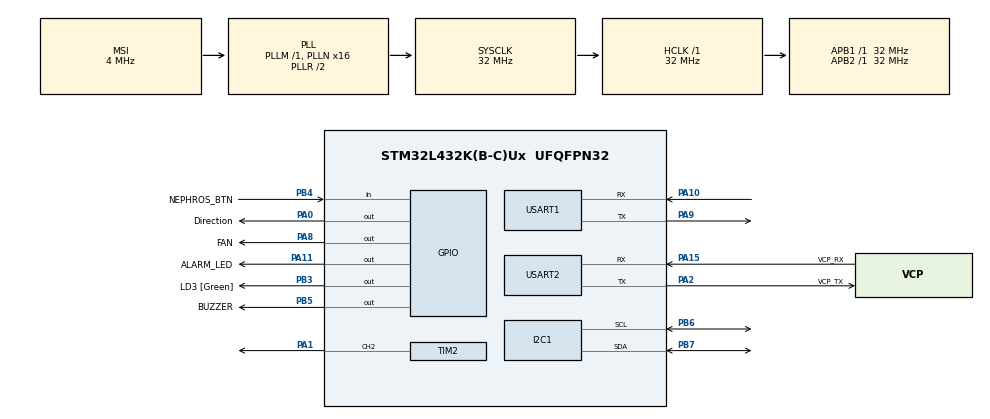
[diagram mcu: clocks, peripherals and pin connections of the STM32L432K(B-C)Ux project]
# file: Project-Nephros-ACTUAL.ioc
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Dma.Request0=USART1_RX
Dma.USART1_RX.0.Direction=DMA_PERIPH_TO_MEMORY
Dma.USART1_RX.0.Instance=DMA1_Channel5
Dma.USART1_RX.0.MemDataAlignment=DMA_MDATAALIGN_BYTE
Dma.USART1_RX.0.MemInc=DMA_MINC_ENABLE
Dma.USART1_RX.0.Mode=DMA_NORMAL
Dma.USART1_RX.0.PeriphDataAlignment=DMA_PDATAALIGN_BYTE
Dma.USART1_RX.0.PeriphInc=DMA_PINC_DISABLE
Dma.USART1_RX.0.Priority=DMA_PRIORITY_LOW
Mcu.Family=STM32L4
Mcu.Name=STM32L432K(B-C)Ux
Mcu.Package=UFQFPN32
NVIC.DMA1_Channel5_IRQn=true\:0\:0\:false\:false\:true\:false\:true\:true
NVIC.PriorityGroup=NVIC_PRIORITYGROUP_4
NVIC.USART1_IRQn=true\:0\:0\:false\:false\:true\:true\:true\:true
PA0.GPIO_Label=Direction
PA0.Signal=GPIO_Output
PA1.Signal=S_TIM2_CH2
PA10.Mode=Asynchronous
PA10.Signal=USART1_RX
PA11.GPIO_Label=ALARM_LED
PA11.Signal=GPIO_Output
PA13\ (JTMS-SWDIO).GPIO_Label=SWDIO
PA13\ (JTMS-SWDIO).Mode=Serial_Wire
PA13\ (JTMS-SWDIO).Signal=SYS_JTMS-SWDIO
PA14\ (JTCK-SWCLK).GPIO_Label=SWCLK
PA14\ (JTCK-SWCLK).Mode=Serial_Wire
PA14\ (JTCK-SWCLK).Signal=SYS_JTCK-SWCLK
PA15\ (JTDI).GPIO_Label=VCP_RX
PA15\ (JTDI).Mode=Asynchronous
PA15\ (JTDI).Signal=USART2_RX
PA2.GPIO_Label=VCP_TX
PA2.Mode=Asynchronous
PA2.Signal=USART2_TX
PA8.GPIO_Label=FAN
PA8.Signal=GPIO_Output
PA9.Mode=Asynchronous
PA9.Signal=USART1_TX
PB3\ (JTDO-TRACESWO).GPIO_Label=LD3 [Green]
PB3\ (JTDO-TRACESWO).Signal=GPIO_Output
PB4\ (NJTRST).GPIO_Label=NEPHROS_BTN
PB4\ (NJTRST).GPIO_PuPd=GPIO_PULLUP
PB4\ (NJTRST).Signal=GPIO_Input
PB5.GPIO_Label=BUZZER
PB5.Signal=GPIO_Output
PB6.Mode=I2C
PB6.Signal=I2C1_SCL
PB7.Mode=I2C
PB7.Signal=I2C1_SDA
PC14-OSC32_IN\ (PC14).Mode=LSE-External-Oscillator
PC14-OSC32_IN\ (PC14).Signal=RCC_OSC32_IN
PC15-OSC32_OUT\ (PC15).Mode=LSE-External-Oscillator
PC15-OSC32_OUT\ (PC15).Signal=RCC_OSC32_OUT
ProjectManager.HeapSize=0x200
ProjectManager.StackSize=0x400
ProjectManager.TargetToolchain=STM32CubeIDE
RCC.ADCFreq_Value=32000000
RCC.AHBFreq_Value=32000000
RCC.APB1Freq_Value=32000000
RCC.APB1TimFreq_Value=32000000
RCC.APB2Freq_Value=32000000
RCC.APB2TimFreq_Value=32000000
RCC.CortexFreq_Value=32000000
RCC.HCLKFreq_Value=32000000
RCC.HSE_VALUE=8000000
RCC.HSI16_VALUE=16000000
RCC.HSI48_VALUE=48000000
RCC.HSI_VALUE=16000000
RCC.MSI_VALUE=4000000
RCC.PLLMUL=RCC_PLLMUL_4
RCC.PLLN=16
RCC.PLLSAI1N=16
RCC.SYSCLKFreq_VALUE=32000000
RCC.SYSCLKSource=RCC_SYSCLKSOURCE_PLLCLK
RCC.USBFreq_Value=32000000
RCC.VCOOutputFreq_Value=64000000
SH.S_TIM2_CH2.0=TIM2_CH2,PWM Generation2 CH2
TIM1.Prescaler=72-1
TIM2.Channel-PWM\ Generation2\ CH2=TIM_CHANNEL_2
TIM2.Period=1000000-1
TIM2.Prescaler=80-1
USART1.VirtualMode-Asynchronous=VM_ASYNC
USART2.VirtualMode-Asynchronous=VM_ASYNC
VP_TIM1_VS_ClockSourceINT.Mode=Internal
board=NUCLEO-L432KC

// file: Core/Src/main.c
/* USER CODE BEGIN Header */
/**
  ******************************************************************************
  * @file           : main.c
  * @brief          : Main program body
  ******************************************************************************
  * @attention
  *
  * Copyright (c) 2026 STMicroelectronics.
  * All rights reserved.
  *
  * This software is licensed under terms that can be found in the LICENSE file
  * in the root directory of this software component.
  * If no LICENSE file comes with this software, it is provided AS-IS.
  *
  ******************************************************************************
  */
/* USER CODE END Header */
#include "main.h"
#include "dma.h"
#include "i2c.h"
#include "tim.h"
#include "usart.h"
#include "gpio.h"

/* USER CODE BEGIN Includes */
#include "PumpMotor.h"
#include "StateMachine.h"
#include "nephros_ui.h"
#include "nephros_safety.h"
#include "liquidcrystal_i2c.h"

#include <string.h>
#include <stdio.h>
#include <math.h>
#include <stdbool.h>
#include <stdlib.h>
#include <ctype.h>
#include <stdint.h>
#include <errno.h>
/* USER CODE END Includes */

/* USER CODE BEGIN PV */

static NephrosSensorData sensor_data =
{
    .temperature_c = 36.5f,
    .pressure = 150U,
    .air_detected = false,
    .flow_rate = 0.0f
};

static NephrosSetup setup_data;

//TIMER VARIABLES
uint32_t lastAlarmLCDCheck = 0;
static uint32_t end_message_hold_ms = 0U;
static bool lcd_message_active = false;

//RECIEVE UART VARIABLES
#define RX_BUFFER_SIZE 256
uint8_t rx_Buffer[RX_BUFFER_SIZE];
uint8_t main_Buffer[RX_BUFFER_SIZE + 1];
volatile uint8_t data_ready_flag = 0;

float r_temp2, r_psi1, r_psi2, r_flow1, r_flow2;
int r_bubble = 0;
char r_status[20];

static bool pending_button_press = false;
/* USER CODE END PV */

void SystemClock_Config(void);
/* USER CODE BEGIN PFP */
static void read_sensors(NephrosSensorData *sensor);
/* USER CODE END PFP */

int main(void)
{

  /* USER CODE BEGIN 1 */

  /*THIS NEEDS TO BE FIXED
   * MODIFIED:
   * Original manual ARR test variables were removed from main.c.
   * Motor speed settings are now handled inside PumpMotor.c.
   *
   * ADDED:
   * main.c now focuses on state-machine control:
   * start ramp -> PID test -> end ramp -> stopped.
   */

  char startMessage[] =
      "Pump motor PID test started. Using placeholder flow values.\r\n";

  /* USER CODE END 1 */

  /* MCU Configuration--------------------------------------------------------*/

  /* Reset of all peripherals, Initializes the Flash interface and the Systick. */
  HAL_Init();

  /* Configure the system clock */
  SystemClock_Config();

  /* Initialize all configured peripherals */
  MX_GPIO_Init();
  MX_DMA_Init();
  MX_USART2_UART_Init();
  MX_I2C1_Init();
  MX_TIM1_Init();
  MX_TIM2_Init();
  MX_USART1_UART_Init();
  /* USER CODE BEGIN 2 */
    /* USER CODE BEGIN 2 */
  /* USER CODE BEGIN 2 */

  NephrosUI_Init();

  NephrosUI_ShowBoot();

  NephrosUI_ShowConsolePrompt();

  NephrosUI_RunStartupMenu(&setup_data);

  NephrosUI_ShowSetupComplete(&setup_data);

  NephrosSafety_Init(NephrosUI_Write);

    /*
   * Existing motor initialisation.
   *
   * MODIFIED:
   * MotorValuesInit() now starts from slow ARR instead of high speed.
   */
  MotorValuesInit();

  /*
   * Start PWM output.
   * The motor begins at slow ARR, then StartPump() ramps it up.
   */
  StartMotorPWM();

  /*
   * UART message to confirm the program has started.
   */
  HAL_UART_Transmit(
      &huart2, //FIXME CHECK THIS IS THE RIGHT HUART
      (uint8_t*)startMessage,
      strlen(startMessage),
      100
  );

  // Start listening via DMA. It triggers an event when the transmission stops.
HAL_UARTEx_ReceiveToIdle_DMA(&huart1, rx_Buffer, RX_BUFFER_SIZE);

  //PrintMotorStatus(); //FIXME Need to figure out what we'll do in the actual code or whatever. as this wont work

  /* USER CODE END 2 */

  /* Infinite loop */
  /* USER CODE BEGIN WHILE */
    while (1)
    {
    	uint32_t currentTick = HAL_GetTick();

    	    /*
    	     * Always check the button quickly.
    	     * If a press happens, remember it until the 20 ms control block uses it.
    	     */
    	    if (NephrosUI_ButtonPressed(currentTick))
    	    {
    	        pending_button_press = true;
    	    }

    	    /*
    	     * Run safety/UI logic every 20 ms.
    	     */
    	    if (currentTick - lastAlarmLCDCheck >= 20U)
    	    {
    	        bool button_pressed;
    	        NephrosSafetyOutput safety_output;

    	        lastAlarmLCDCheck = currentTick;

    	        /*
    	         * Use the stored button press once.
    	         */
    	        button_pressed = pending_button_press;
    	        pending_button_press = false;

    	        read_sensors(&sensor_data);

    	        safety_output = NephrosSafety_Update(
    	            &sensor_data,
    	            button_pressed,
    	            currentTick
    	        );

    	        /*
    	         * Emergency stop handling.
    	         */
    	        if (safety_output.halted)
    	        {
    	            SetState(STATE_EMERGENCY_STOP);
    	        }

    	        /*
    	         * Resume handling.
    	         */
    	        if (safety_output.resume_requested)
    	        {
    	            MotorValuesInit();
    	            StartMotorPWM();
    	            SetState(STATE_START_MOTOR_RAMP);
    	        }

    	        /*
    	         * Run motor state machine after safety decision.
    	         */
    	        RunStateMachine(currentTick, &sensor_data);

    	        /*
    	         * LCD message handling.
    	         */
    	        if (safety_output.lcd_message_valid)
    	        {
    	            NephrosUI_ShowMessage(
    	                safety_output.lcd_line1,
    	                safety_output.lcd_line2
    	            );

    	            lcd_message_active = true;
    	            end_message_hold_ms =
    	                currentTick + safety_output.message_hold_ms;
    	        }
    	        else if (lcd_message_active &&
    	                 currentTick >= end_message_hold_ms)
    	        {
    	            lcd_message_active = false;
    	            NephrosUI_ForceRedraw();
    	        }
    	        else if (!lcd_message_active)
    	        {
    	            if (safety_output.force_normal_lcd_redraw)
    	            {
    	                NephrosUI_ForceRedraw();
    	            }

    	            if (safety_output.can_cycle_lcd_view)
    	            {
    	                if (button_pressed)
    	                {
    	                    NephrosUI_NextView();
    	                }

    	                NephrosUI_ShowNormalIfChanged(&sensor_data);

            }
        }

      }

    /* USER CODE END WHILE */

    }
}

void SystemClock_Config(void)
{
  RCC_OscInitTypeDef RCC_OscInitStruct = {0};
  RCC_ClkInitTypeDef RCC_ClkInitStruct = {0};

  /** Configure the main internal regulator output voltage
  */
  if (HAL_PWREx_ControlVoltageScaling(PWR_REGULATOR_VOLTAGE_SCALE1) != HAL_OK)
  {
    Error_Handler();
  }

  /** Configure LSE Drive Capability
  */
  HAL_PWR_EnableBkUpAccess();
  __HAL_RCC_LSEDRIVE_CONFIG(RCC_LSEDRIVE_LOW);

  /** Initializes the RCC Oscillators according to the specified parameters
  * in the RCC_OscInitTypeDef structure.
  */
  RCC_OscInitStruct.OscillatorType = RCC_OSCILLATORTYPE_LSE|RCC_OSCILLATORTYPE_MSI;
  RCC_OscInitStruct.LSEState = RCC_LSE_ON;
  RCC_OscInitStruct.MSIState = RCC_MSI_ON;
  RCC_OscInitStruct.MSICalibrationValue = 0;
  RCC_OscInitStruct.MSIClockRange = RCC_MSIRANGE_6;
  RCC_OscInitStruct.PLL.PLLState = RCC_PLL_ON;
  RCC_OscInitStruct.PLL.PLLSource = RCC_PLLSOURCE_MSI;
  RCC_OscInitStruct.PLL.PLLM = 1;
  RCC_OscInitStruct.PLL.PLLN = 16;
  RCC_OscInitStruct.PLL.PLLP = RCC_PLLP_DIV7;
  RCC_OscInitStruct.PLL.PLLQ = RCC_PLLQ_DIV2;
  RCC_OscInitStruct.PLL.PLLR = RCC_PLLR_DIV2;
  if (HAL_RCC_OscConfig(&RCC_OscInitStruct) != HAL_OK)
  {
    Error_Handler();
  }

  /** Initializes the CPU, AHB and APB buses clocks
  */
  RCC_ClkInitStruct.ClockType = RCC_CLOCKTYPE_HCLK|RCC_CLOCKTYPE_SYSCLK
                              |RCC_CLOCKTYPE_PCLK1|RCC_CLOCKTYPE_PCLK2;
  RCC_ClkInitStruct.SYSCLKSource = RCC_SYSCLKSOURCE_PLLCLK;
  RCC_ClkInitStruct.AHBCLKDivider = RCC_SYSCLK_DIV1;
  RCC_ClkInitStruct.APB1CLKDivider = RCC_HCLK_DIV1;
  RCC_ClkInitStruct.APB2CLKDivider = RCC_HCLK_DIV1;

  if (HAL_RCC_ClockConfig(&RCC_ClkInitStruct, FLASH_LATENCY_1) != HAL_OK)
  {
    Error_Handler();
  }

  /** Enable MSI Auto calibration
  */
  HAL_RCCEx_EnableMSIPLLMode();
}

/* USER CODE BEGIN 4 */
static void read_sensors(NephrosSensorData *sensor_data)
{
    if (data_ready_flag)
    {
        data_ready_flag = 0;

        // Temporary variables
        // Don't modify sensor_data until we know the ENTIRE message is valid
        float temp1;
        float temp2;
        float psi1;
        float psi2;
        float flow1;
        float flow2;
        int bubble;
        char status[20];

        // DEBUG: print exactly what UART1 received to UART2
        HAL_UART_Transmit(
            &huart2,
            (uint8_t *)main_Buffer,
            strlen((char *)main_Buffer),
            100
        );

        char newline[] = "\r\n";

        HAL_UART_Transmit(
            &huart2,
            (uint8_t *)newline,
            strlen(newline),
            100
        );

        // Parse the received UART message
        int parsed = sscanf(
            (char *)main_Buffer,
            "[T1=%f, T2=%f, Bubble=%d, Status=%19[^,], P1=%f, P2=%f, F1=%f, F2=%f]",
            &temp1,
            &temp2,
            &bubble,
            status,
            &psi1,
            &psi2,
            &flow1,
            &flow2
        );

        // Only update the real sensor data if ALL 8 values were read
        if (parsed == 8)
        {
            sensor_data->temperature_c = temp1;
            sensor_data->air_detected = (bubble != 0);
            sensor_data->pressure = (uint16_t)psi1;
            sensor_data->flow_rate = flow1;
        }
    }
}

void HAL_UARTEx_RxEventCallback(UART_HandleTypeDef *huart, uint16_t Size)
{
    if (huart->Instance == USART1)
    {
        memcpy(main_Buffer, rx_Buffer, Size);
        main_Buffer[Size] = '\0';

        // Immediately print what was received to the PC
        HAL_UART_Transmit(
            &huart2,
            main_Buffer,
            Size,
            100
        );

        char newline[] = "\r\n";
        HAL_UART_Transmit(
            &huart2,
            (uint8_t *)newline,
            strlen(newline),
            100
        );

        data_ready_flag = 1;

        HAL_UARTEx_ReceiveToIdle_DMA(
            &huart1,
            rx_Buffer,
            RX_BUFFER_SIZE
        );
    }
}
/* USER CODE END 4 */

void Error_Handler(void)
{
  __disable_irq();
  while (1)
  {
  }
}
